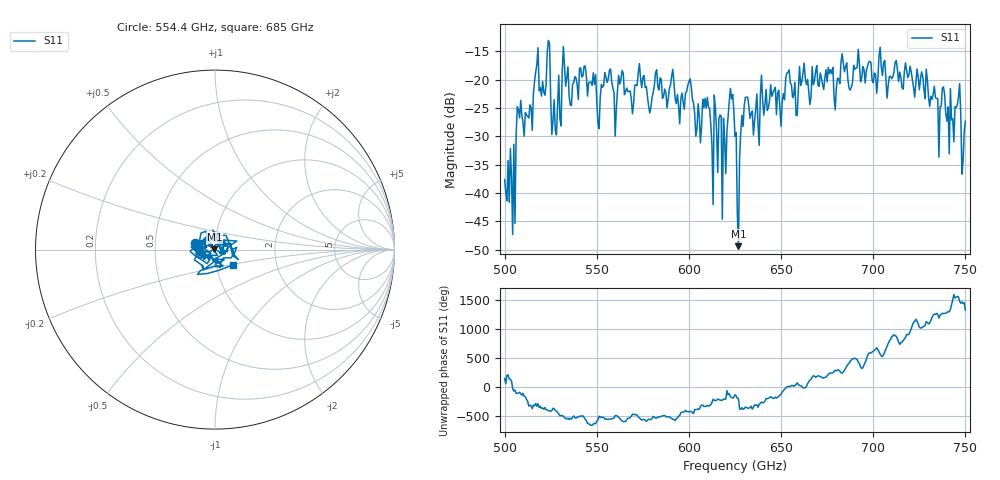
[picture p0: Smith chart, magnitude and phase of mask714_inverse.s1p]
!Created with skrf (http://scikit-rf.org).
# GHz S MA R 50.0
!freq magS11 angS11
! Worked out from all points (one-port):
!   401 points, 500 GHz to 750 GHz, reference 50 ohm
!   lowest |S11| = -49.4 dB at 626.9 GHz (marker M1), VSWR 1.01, Z = 49.7 + j0.149 ohm
!   |S11| at or under -10 dB: start of sweep to end of sweep
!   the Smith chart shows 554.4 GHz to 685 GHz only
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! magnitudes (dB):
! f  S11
! 500 GHz  -37.7
! 505 GHz  -31.4
! 507.5 GHz  -25.3
! 513.8 GHz  -24.5
! 516.9 GHz  -18.6
! 521.2 GHz  -22.2
! 523.8 GHz  -13.1
! 526.9 GHz  -23.5
! 531.2 GHz  -18.7
! 542.5 GHz  -19.3
! 551.2 GHz  -28.7
! 562.5 GHz  -20.8
! 593.8 GHz  -22.6
! 610 GHz  -23.1
! 611.9 GHz  -27.9
! 619.4 GHz  -30.4
! 623.1 GHz  -23.4
! 625 GHz  -30.0
! 626.9 GHz  -49.4
! 631.2 GHz  -23.1
! 656.2 GHz  -23.2
! 680 GHz  -21.4
! 683.8 GHz  -17.1
! 687.5 GHz  -21.9
! 718.8 GHz  -19.6
! 742.5 GHz  -27.1
! 745.6 GHz  -24.4
! 750 GHz  -27.3
